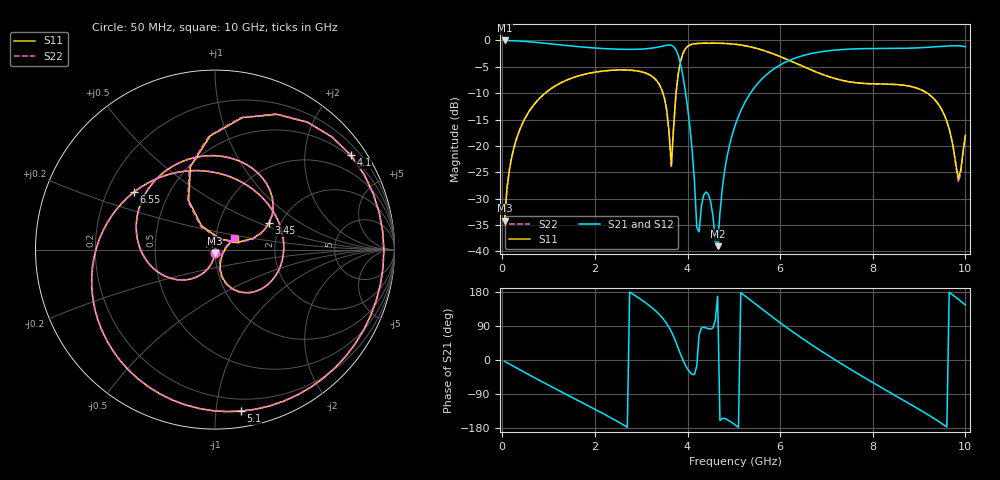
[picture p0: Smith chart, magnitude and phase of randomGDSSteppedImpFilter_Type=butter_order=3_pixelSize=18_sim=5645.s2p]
! freq	dB(S11)	phase(S11)	dB(S12)	phase(S12)
!  dB(S21)	phase(S21)	dB(S22)	phase(S22)
!S-par simulation data
#  GHz  S  DB  R 50
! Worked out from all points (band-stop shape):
!   200 points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, 50 MHz to 10 GHz, reference 50 ohm
!   highest |S21| = -0.01 dB at 50 MHz (marker M1); lowest = -39.0 dB at 4.65 GHz (marker M2)
!   |S21| within 3 dB of the highest: start of sweep to 3.805 GHz; 6.444 GHz to end of sweep
!   lowest |S11| = -34.2 dB at 50 MHz (marker M3), VSWR 1.04, Z = 49.9 - j1.94 ohm
!   |S11| at or under -10 dB: start of sweep to 925.3 MHz; 3.469 GHz to 3.752 GHz (283.2 MHz wide, 7.85 % of centre); 9.174 GHz to end of sweep
!   |S22| runs from -34.2 to -0.5 dB; largest |S21 - S12| = 0
!   S11 on the Smith chart (normalised r, x): 50 MHz: 1.00, -0.04; 3.45 GHz: 1.74, +0.58; 4.1 GHz: 0.45, +3.12; 5.1 GHz: 0.11, -1.17; 6.55 GHz: 0.31, +0.29; 10 GHz: 1.24, +0.15
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0.05  -34.20 -93.2  -0.01 -3.5  -0.01 -3.5  -34.20 -93.2
0.5  -14.63 -124.3  -0.20 -33.8  -0.20 -33.8  -14.63 -124.3
1.75  -6.48 155.5  -1.27 -114.0  -1.27 -114.0  -6.48 155.5
2.7  -5.61 92.5  -1.70 -177.3  -1.70 -177.3  -5.61 92.5
3.4  -8.50 31.8  -1.20 118.9  -1.20 118.9  -8.51 31.5
3.45  -9.47 26.2  -1.09 112.1  -1.09 112.1  -9.48 25.9
3.65  -23.65 62.9  -0.92 74.9  -0.92 74.9  -24.19 62.5
3.8  -6.34 106.5  -2.85 31.0  -2.85 31.0  -6.36 107.3
4.1  -0.71 34.9  -20.84 -37.9  -20.84 -37.9  -0.72 35.2
4.2  -0.58 19.4  -35.45 -14.9  -35.45 -14.9  -0.58 19.7
4.4  -0.52 -6.1  -28.73 84.6  -28.73 84.6  -0.52 -5.9
4.65  -0.53 -34.0  -39.02 168.1  -39.02 168.1  -0.53 -33.8
5.05  -0.75 -75.8  -15.56 -173.1  -15.56 -173.1  -0.75 -75.6
5.1  -0.80 -80.9  -14.40 -177.7  -14.40 -177.7  -0.80 -80.7
5.8  -2.38 -149.2  -5.81 116.4  -5.81 116.4  -2.38 -149.1
6.55  -5.14 144.5  -2.74 50.9  -2.74 50.9  -5.15 144.5
6.7  -5.71 132.1  -2.44 38.6  -2.44 38.6  -5.71 132.0
7.45  -7.78 72.9  -1.67 -19.5  -1.67 -19.5  -7.78 72.7
8.35  -8.30 7.9  -1.52 -84.3  -1.52 -84.3  -8.30 7.5
9.4  -11.89 -63.2  -1.17 -160.3  -1.17 -160.3  -11.91 -64.0
9.85  -26.14 -30.1  -1.03 160.1  -1.03 160.1  -26.86 -30.6
10  -17.97 28.8  -1.18 145.1  -1.18 145.1  -18.07 30.5
